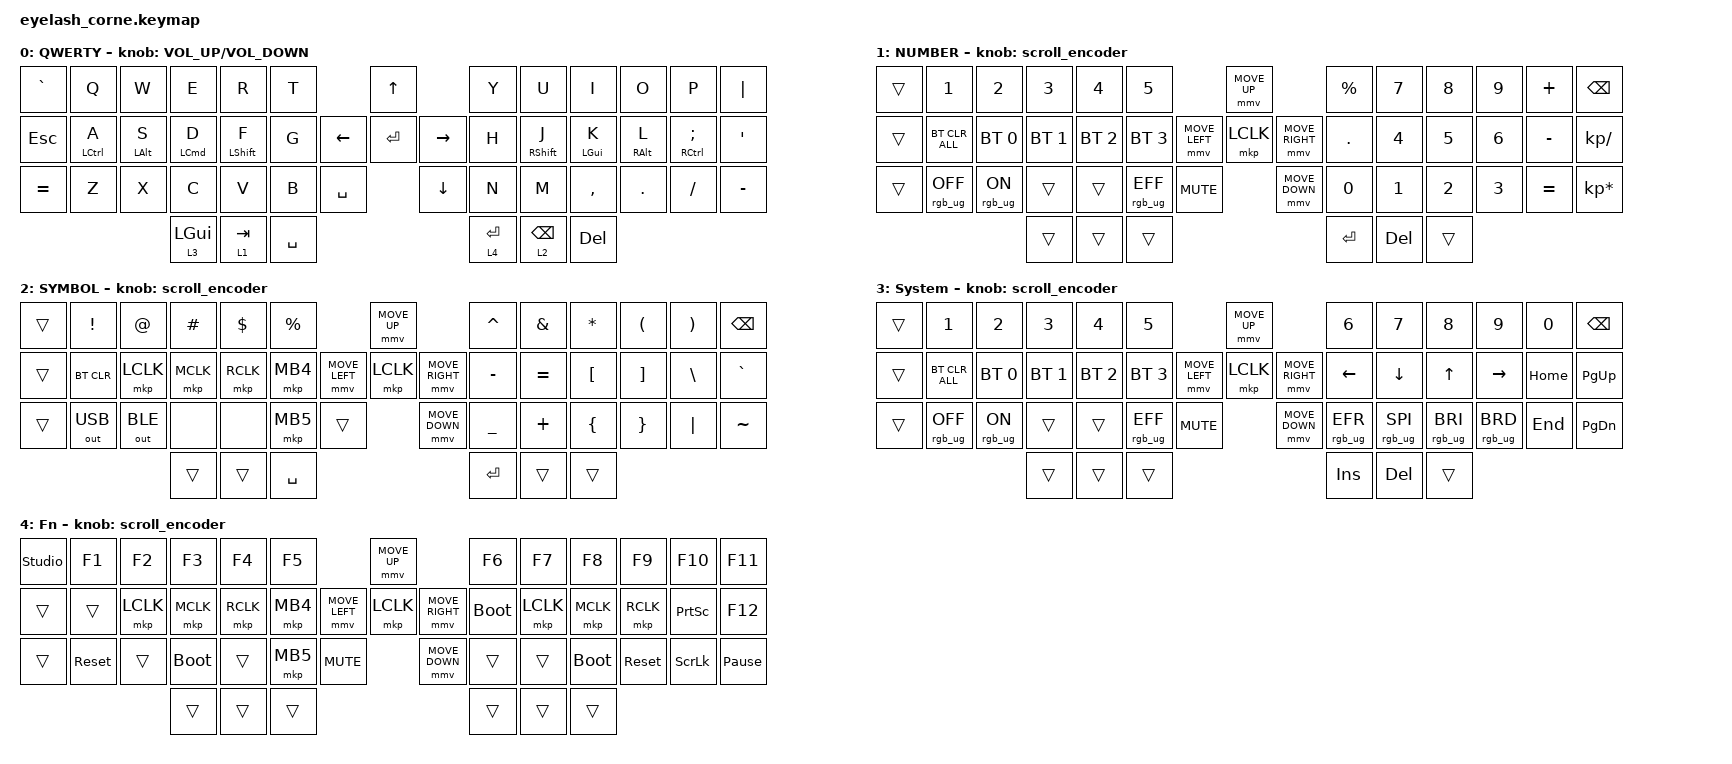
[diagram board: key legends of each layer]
#define ZMK_POINTING_DEFAULT_MOVE_VAL 1200  // 600
#define ZMK_POINTING_DEFAULT_SCRL_VAL 25   // 10

#include <input/processors.dtsi>
#include <zephyr/dt-bindings/input/input-event-codes.h>
#include <behaviors.dtsi>
#include <dt-bindings/zmk/bt.h>
#include <dt-bindings/zmk/keys.h>
#include <dt-bindings/zmk/outputs.h>
#include <dt-bindings/zmk/pointing.h>
#include <dt-bindings/zmk/rgb.h>

&mmv_input_listener { input-processors = <&zip_xy_scaler 2 1>; };

&msc_input_listener { input-processors = <&zip_scroll_scaler 2 1>; };

&msc {
    acceleration-exponent = <1>;      // 0
    time-to-max-speed-ms = <100>;       // 300
    delay-ms = <0>;                   // 0
};

&mmv {
    time-to-max-speed-ms = <500>;
    acceleration-exponent = <1>;
    trigger-period-ms = <16>;
};

/ {
    behaviors {
        td0: td0 {
            compatible = "zmk,behavior-tap-dance";
            display-name = "Shift/Caps Lock Tap Dance";
            #binding-cells = <0>;
            bindings = <&kp LEFT_SHIFT>, <&kp CAPS>;
        };

        hml: hml {
            compatible = "zmk,behavior-hold-tap";
            label = "HML";
            bindings = <&kp>, <&kp>;

            #binding-cells = <2>;
            tapping-term-ms = <280>;
            quick-tap-ms = <175>;
            hold-trigger-on-release;
            flavor = "balanced";
            hold-trigger-key-positions = <17 16 15 14>;
            require-prior-idle-ms = <150>;
        };

        hmr: hmr {
            compatible = "zmk,behavior-hold-tap";
            label = "HMR";
            bindings = <&kp>, <&kp>;

            #binding-cells = <2>;
            tapping-term-ms = <280>;
            quick-tap-ms = <175>;
            hold-trigger-on-release;
            flavor = "balanced";
            require-prior-idle-ms = <150>;
            hold-trigger-key-positions = <23 24 25 26>;
        };
    };

    rgb_encoder: rgb_encoder {
        compatible = "zmk,behavior-sensor-rotate";
        #sensor-binding-cells = <0>;
        bindings = <&rgb_ug RGB_BRI>, <&rgb_ug RGB_BRD>;
    };

    scroll_encoder: scroll_encoder {
        compatible = "zmk,behavior-sensor-rotate";
        #sensor-binding-cells = <0>;
        bindings = <&msc SCRL_DOWN>, <&msc SCRL_UP>;

        tap-ms = <100>;
    };

    keymap {
        compatible = "zmk,keymap";

        default_layer {
            display-name = "QWERTY";
            bindings = <
&kp GRAVE  &kp Q                &kp W            &kp E           &kp R              &kp T                             &kp UP                &kp Y        &kp U               &kp I            &kp O             &kp P                    &kp PIPE
&kp ESC    &hml LEFT_CONTROL A  &hml LEFT_ALT S  &hml LCMD D     &hml LEFT_SHIFT F  &kp G                   &kp LEFT  &kp ENTER  &kp RIGHT  &kp H        &hmr RIGHT_SHIFT J  &hmr LEFT_GUI K  &hmr RIGHT_ALT L  &hmr RIGHT_CONTROL SEMI  &kp SQT
&kp EQUAL  &kp Z                &kp X            &kp C           &kp V              &kp B      &kp SPACE              &kp DOWN              &kp N        &kp M               &kp COMMA        &kp DOT           &kp FSLH                 &kp MINUS
                                                 &lt 3 LEFT_GUI  &lt 1 TAB          &kp SPACE                                               &lt 4 ENTER  &lt 2 BACKSPACE     &kp DEL
            >;

            sensor-bindings = <&inc_dec_kp C_VOLUME_UP C_VOLUME_DOWN>;
        };

        Number {
            display-name = "NUMBER";
            bindings = <
&trans  &kp N1           &kp N2          &kp N3        &kp N4        &kp N5                                         &mmv MOVE_UP                     &kp PERCENT  &kp N7        &kp N8        &kp N9        &kp PLUS   &kp BSPC
&trans  &bt BT_CLR_ALL   &bt BT_SEL 0    &bt BT_SEL 1  &bt BT_SEL 2  &bt BT_SEL 3                   &mmv MOVE_LEFT  &mkp LCLK       &mmv MOVE_RIGHT  &kp PERIOD   &kp NUMBER_4  &kp N5        &kp NUMBER_6  &kp MINUS  &kp KP_DIVIDE
&trans  &rgb_ug RGB_OFF  &rgb_ug RGB_ON  &trans        &trans        &rgb_ug RGB_EFF  &kp C_MUTE                    &mmv MOVE_DOWN                   &kp N0       &kp NUMBER_1  &kp NUMBER_2  &kp NUMBER_3  &kp EQUAL  &kp KP_MULTIPLY
                                         &trans        &trans        &trans                                                                          &kp ENTER    &kp DEL       &trans
            >;

            sensor-bindings = <&scroll_encoder>;
        };

        raise_layer {
            display-name = "SYMBOL";
            bindings = <
&trans  &kp EXCL      &kp AT        &kp HASH   &kp DLLR   &kp PRCNT                            &mmv MOVE_UP                     &kp CARET  &kp AMPS   &kp ASTRK  &kp LPAR  &kp RPAR  &kp BSPC
&trans  &bt BT_CLR    &mkp LCLK     &mkp MCLK  &mkp RCLK  &mkp MB4             &mmv MOVE_LEFT  &mkp LCLK       &mmv MOVE_RIGHT  &kp MINUS  &kp EQUAL  &kp LBKT   &kp RBKT  &kp BSLH  &kp GRAVE
&trans  &out OUT_USB  &out OUT_BLE  &none      &none      &mkp MB5   &trans                    &mmv MOVE_DOWN                   &kp UNDER  &kp PLUS   &kp LBRC   &kp RBRC  &kp PIPE  &kp TILDE
                                    &trans     &trans     &kp SPACE                                                             &kp RET    &trans     &trans
            >;

            sensor-bindings = <&scroll_encoder>;
        };

        System {
            display-name = "System";
            bindings = <
&trans  &kp NUMBER_1     &kp N2          &kp N3        &kp N4        &kp N5                                         &mmv MOVE_UP                     &kp N6           &kp N7           &kp N8           &kp N9           &kp N0    &kp BSPC
&trans  &bt BT_CLR_ALL   &bt BT_SEL 0    &bt BT_SEL 1  &bt BT_SEL 2  &bt BT_SEL 3                   &mmv MOVE_LEFT  &mkp LCLK       &mmv MOVE_RIGHT  &kp LEFT         &kp DOWN         &kp UP           &kp RIGHT        &kp HOME  &kp PG_UP
&trans  &rgb_ug RGB_OFF  &rgb_ug RGB_ON  &trans        &trans        &rgb_ug RGB_EFF  &kp C_MUTE                    &mmv MOVE_DOWN                   &rgb_ug RGB_EFR  &rgb_ug RGB_SPI  &rgb_ug RGB_BRI  &rgb_ug RGB_BRD  &kp END   &kp PG_DN
                                         &trans        &trans        &trans                                                                          &kp INS          &kp DEL          &trans
            >;

            sensor-bindings = <&scroll_encoder>;
        };

        layer_3 {
            display-name = "Fn";
            bindings = <
&studio_unlock  &kp F1      &kp F2     &kp F3       &kp F4     &kp F5                                  &mmv MOVE_UP                     &kp F6       &kp F7     &kp F8       &kp F9      &kp F10          &kp F11
&trans          &trans      &mkp LCLK  &mkp MCLK    &mkp RCLK  &mkp MB4                &mmv MOVE_LEFT  &mkp LCLK       &mmv MOVE_RIGHT  &bootloader  &mkp LCLK  &mkp MCLK    &mkp RCLK   &kp PRINTSCREEN  &kp F12
&trans          &sys_reset  &trans     &bootloader  &trans     &mkp MB5  &kp C_MUTE                    &mmv MOVE_DOWN                   &trans       &trans     &bootloader  &sys_reset  &kp SCROLLLOCK   &kp PAUSE_BREAK
                                       &trans       &trans     &trans                                                                   &trans       &trans     &trans
            >;

            sensor-bindings = <&scroll_encoder>;
        };
    };
};
